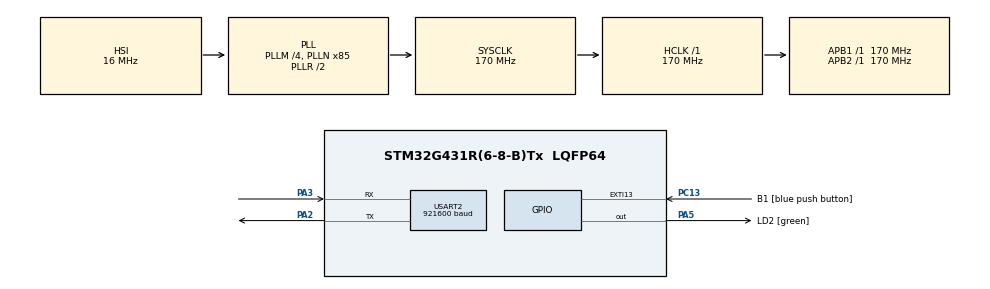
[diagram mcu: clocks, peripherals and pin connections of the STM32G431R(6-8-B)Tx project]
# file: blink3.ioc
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Mcu.Family=STM32G4
Mcu.Name=STM32G431R(6-8-B)Tx
Mcu.Package=LQFP64
NVIC.EXTI15_10_IRQn=true\:0\:0\:false\:false\:true\:true\:true\:true
NVIC.PriorityGroup=NVIC_PRIORITYGROUP_4
NVIC.USART2_IRQn=true\:0\:0\:false\:false\:true\:true\:true\:true
PA13.GPIO_Label=T_SWDIO
PA13.Signal=SYS_JTMS-SWDIO
PA14.GPIO_Label=T_SWCLK
PA14.Signal=SYS_JTCK-SWCLK
PA2.Mode=Asynchronous
PA2.Signal=USART2_TX
PA3.Mode=Asynchronous
PA3.Signal=USART2_RX
PA5.GPIO_Label=LD2 [green]
PA5.Signal=GPIO_Output
PB3.GPIO_Label=T_SWO
PB3.Signal=SYS_JTDO-SWO
PC13.GPIO_Label=B1 [blue push button]
PC13.GPIO_ModeDefaultEXTI=GPIO_MODE_IT_RISING
PC13.GPIO_PuPd=GPIO_PULLDOWN
PC13.Signal=GPXTI13
PC14-OSC32_IN.GPIO_Label=RCC_OSC32_OUT
PC14-OSC32_IN.Signal=RCC_OSC32_IN
PC15-OSC32_OUT.GPIO_Label=RCC_OSC32_OUT
PC15-OSC32_OUT.Signal=RCC_OSC32_OUT
PF0-OSC_IN.GPIO_Label=RCC_OSC_IN
PF0-OSC_IN.Signal=RCC_OSC_IN
PF1-OSC_OUT.GPIO_Label=RCC_OSC_OUT
PF1-OSC_OUT.Signal=RCC_OSC_OUT
ProjectManager.HeapSize=0x200
ProjectManager.StackSize=0x400
ProjectManager.TargetToolchain=STM32CubeIDE
RCC.ADC12Freq_Value=170000000
RCC.AHBFreq_Value=170000000
RCC.APB1Freq_Value=170000000
RCC.APB1TimFreq_Value=170000000
RCC.APB2Freq_Value=170000000
RCC.APB2TimFreq_Value=170000000
RCC.CortexFreq_Value=170000000
RCC.EXTERNAL_CLOCK_VALUE=12288000
RCC.HCLKFreq_Value=170000000
RCC.HSE_VALUE=24000000
RCC.HSI48_VALUE=48000000
RCC.HSI_VALUE=16000000
RCC.LSE_VALUE=32768
RCC.PLLM=RCC_PLLM_DIV4
RCC.PLLN=85
RCC.RTCClockSelection=RCC_RTCCLKSOURCE_LSE
RCC.SYSCLKFreq_VALUE=170000000
RCC.SYSCLKSource=RCC_SYSCLKSOURCE_PLLCLK
RCC.USBFreq_Value=170000000
RCC.VCOOutputFreq_Value=340000000
USART2.BaudRate=921600
USART2.VirtualMode-Asynchronous=VM_ASYNC
VP_SYS_VS_DBSignals.Mode=DisableDeadBatterySignals
board=NUCLEO-G431RB

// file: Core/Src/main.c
/* USER CODE BEGIN Header */
/**
  ******************************************************************************
  * @file           : main.c
  * @brief          : Main program body
  ******************************************************************************
  * @attention
  *
  * Copyright (c) 2025 STMicroelectronics.
  * All rights reserved.
  *
  * This software is licensed under terms that can be found in the LICENSE file
  * in the root directory of this software component.
  * If no LICENSE file comes with this software, it is provided AS-IS.
  *
  ******************************************************************************
  */
/* USER CODE END Header */
#include "main.h"

/* USER CODE BEGIN Includes */
#include <stdio.h>
/* USER CODE END Includes */

UART_HandleTypeDef huart2;

/* USER CODE BEGIN PV */
uint8_t button_press = 0;
uint16_t blink_delays[] = {500, 250, 100};
uint8_t blink_delay = 0;

/* USER CODE END PV */

void SystemClock_Config(void);
static void MX_GPIO_Init(void);
static void MX_USART2_UART_Init(void);

/* USER CODE BEGIN 0 */

// Send printf to uart1
int _write(int fd, char* ptr, int len)
{
  HAL_StatusTypeDef hstatus;

  if (fd == 1 || fd == 2) {
    hstatus = HAL_UART_Transmit(&huart2, (uint8_t *) ptr, len, HAL_MAX_DELAY);
    if (hstatus == HAL_OK)
      return len;
    else
      return -1;
  }
  return -1;
}

void HAL_GPIO_EXTI_Callback(uint16_t GPIO_Pin)
{
	if(GPIO_Pin == B1_Pin) {
		button_press = 1;
	}
}

/* USER CODE END 0 */

int main(void)
{

  /* MCU Configuration--------------------------------------------------------*/

  /* Reset of all peripherals, Initializes the Flash interface and the Systick. */
  HAL_Init();

  /* Configure the system clock */
  SystemClock_Config();

  /* Initialize all configured peripherals */
  MX_GPIO_Init();
  MX_USART2_UART_Init();
  /* USER CODE BEGIN 2 */

  printf("Blink2 Starting \n");

  /* USER CODE END 2 */

  /* Infinite loop */
  /* USER CODE BEGIN WHILE */

  uint32_t now = 0;
  uint32_t next_blink = 500;
  uint32_t next_tick = 1000;
  uint32_t loop_cnt = 0;

  while (1)
  {
	  now = HAL_GetTick();

	  if(now >= next_blink) {
		  printf("Toggling GPIO\n");

		  HAL_GPIO_TogglePin(GPIOA, GPIO_PIN_5);

		  next_blink = now + blink_delays[blink_delay];
	  }

	  if(now >= next_tick) {
		  printf("Tick %lu (loop count = %lu)\n", now / 1000, loop_cnt);

		  loop_cnt = 0;
		  next_tick = now + 1000;
	  }

	  if(button_press) {

		  printf("Button pressed\n");

		  ++blink_delay;
		  if(blink_delay >= sizeof(blink_delays) / sizeof(blink_delays[0])) {
			  blink_delay = 0;
		  }

		  button_press = 0;
	  }

	  ++loop_cnt;
    /* USER CODE END WHILE */

  }
}

void SystemClock_Config(void)
{
  RCC_OscInitTypeDef RCC_OscInitStruct = {0};
  RCC_ClkInitTypeDef RCC_ClkInitStruct = {0};

  /** Configure the main internal regulator output voltage
  */
  HAL_PWREx_ControlVoltageScaling(PWR_REGULATOR_VOLTAGE_SCALE1_BOOST);

  /** Initializes the RCC Oscillators according to the specified parameters
  * in the RCC_OscInitTypeDef structure.
  */
  RCC_OscInitStruct.OscillatorType = RCC_OSCILLATORTYPE_HSI;
  RCC_OscInitStruct.HSIState = RCC_HSI_ON;
  RCC_OscInitStruct.HSICalibrationValue = RCC_HSICALIBRATION_DEFAULT;
  RCC_OscInitStruct.PLL.PLLState = RCC_PLL_ON;
  RCC_OscInitStruct.PLL.PLLSource = RCC_PLLSOURCE_HSI;
  RCC_OscInitStruct.PLL.PLLM = RCC_PLLM_DIV4;
  RCC_OscInitStruct.PLL.PLLN = 85;
  RCC_OscInitStruct.PLL.PLLP = RCC_PLLP_DIV2;
  RCC_OscInitStruct.PLL.PLLQ = RCC_PLLQ_DIV2;
  RCC_OscInitStruct.PLL.PLLR = RCC_PLLR_DIV2;
  if (HAL_RCC_OscConfig(&RCC_OscInitStruct) != HAL_OK)
  {
    Error_Handler();
  }

  /** Initializes the CPU, AHB and APB buses clocks
  */
  RCC_ClkInitStruct.ClockType = RCC_CLOCKTYPE_HCLK|RCC_CLOCKTYPE_SYSCLK
                              |RCC_CLOCKTYPE_PCLK1|RCC_CLOCKTYPE_PCLK2;
  RCC_ClkInitStruct.SYSCLKSource = RCC_SYSCLKSOURCE_PLLCLK;
  RCC_ClkInitStruct.AHBCLKDivider = RCC_SYSCLK_DIV1;
  RCC_ClkInitStruct.APB1CLKDivider = RCC_HCLK_DIV1;
  RCC_ClkInitStruct.APB2CLKDivider = RCC_HCLK_DIV1;

  if (HAL_RCC_ClockConfig(&RCC_ClkInitStruct, FLASH_LATENCY_4) != HAL_OK)
  {
    Error_Handler();
  }
}

static void MX_USART2_UART_Init(void)
{

  huart2.Instance = USART2;
  huart2.Init.BaudRate = 921600;
  huart2.Init.WordLength = UART_WORDLENGTH_8B;
  huart2.Init.StopBits = UART_STOPBITS_1;
  huart2.Init.Parity = UART_PARITY_NONE;
  huart2.Init.Mode = UART_MODE_TX_RX;
  huart2.Init.HwFlowCtl = UART_HWCONTROL_NONE;
  huart2.Init.OverSampling = UART_OVERSAMPLING_16;
  huart2.Init.OneBitSampling = UART_ONE_BIT_SAMPLE_DISABLE;
  huart2.Init.ClockPrescaler = UART_PRESCALER_DIV1;
  huart2.AdvancedInit.AdvFeatureInit = UART_ADVFEATURE_NO_INIT;
  if (HAL_UART_Init(&huart2) != HAL_OK)
  {
    Error_Handler();
  }
  if (HAL_UARTEx_SetTxFifoThreshold(&huart2, UART_TXFIFO_THRESHOLD_1_8) != HAL_OK)
  {
    Error_Handler();
  }
  if (HAL_UARTEx_SetRxFifoThreshold(&huart2, UART_RXFIFO_THRESHOLD_1_8) != HAL_OK)
  {
    Error_Handler();
  }
  if (HAL_UARTEx_DisableFifoMode(&huart2) != HAL_OK)
  {
    Error_Handler();
  }

}

static void MX_GPIO_Init(void)
{
  GPIO_InitTypeDef GPIO_InitStruct = {0};

  /* GPIO Ports Clock Enable */
  __HAL_RCC_GPIOC_CLK_ENABLE();
  __HAL_RCC_GPIOF_CLK_ENABLE();
  __HAL_RCC_GPIOA_CLK_ENABLE();
  __HAL_RCC_GPIOB_CLK_ENABLE();

  /*Configure GPIO pin Output Level */
  HAL_GPIO_WritePin(LD2_GPIO_Port, LD2_Pin, GPIO_PIN_RESET);

  /*Configure GPIO pin : B1_Pin */
  GPIO_InitStruct.Pin = B1_Pin;
  GPIO_InitStruct.Mode = GPIO_MODE_IT_RISING;
  GPIO_InitStruct.Pull = GPIO_PULLDOWN;
  HAL_GPIO_Init(B1_GPIO_Port, &GPIO_InitStruct);

  /*Configure GPIO pin : LD2_Pin */
  GPIO_InitStruct.Pin = LD2_Pin;
  GPIO_InitStruct.Mode = GPIO_MODE_OUTPUT_PP;
  GPIO_InitStruct.Pull = GPIO_NOPULL;
  GPIO_InitStruct.Speed = GPIO_SPEED_FREQ_LOW;
  HAL_GPIO_Init(LD2_GPIO_Port, &GPIO_InitStruct);

  /* EXTI interrupt init*/
  HAL_NVIC_SetPriority(EXTI15_10_IRQn, 0, 0);
  HAL_NVIC_EnableIRQ(EXTI15_10_IRQn);

}

void Error_Handler(void)
{
  __disable_irq();
  while (1)
  {
  }
}
